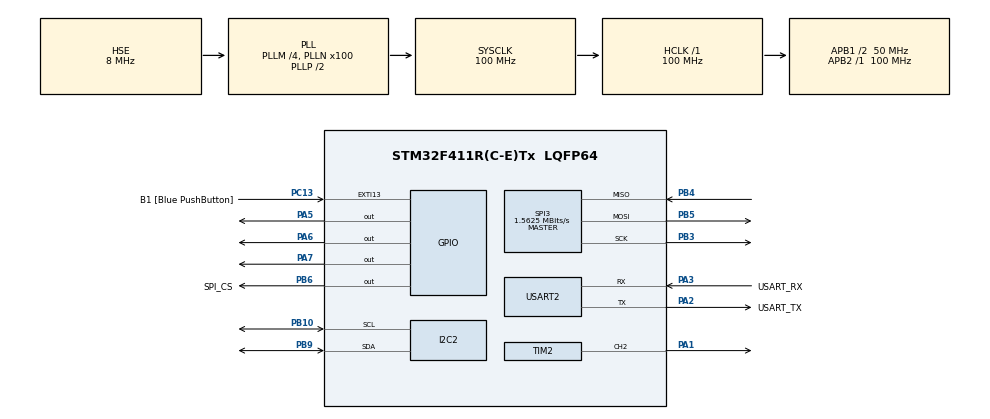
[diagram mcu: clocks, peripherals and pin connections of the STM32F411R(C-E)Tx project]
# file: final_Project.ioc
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I2C2.I2C_Mode=I2C_Fast
Mcu.Family=STM32F4
Mcu.Name=STM32F411R(C-E)Tx
Mcu.Package=LQFP64
NVIC.PriorityGroup=NVIC_PRIORITYGROUP_0
NVIC.TIM1_UP_TIM10_IRQn=true\:0\:0\:false\:false\:true\:true\:true
PA1.Signal=S_TIM2_CH2
PA13.GPIO_Label=TMS
PA13.Mode=Serial_Wire
PA13.Signal=SYS_JTMS-SWDIO
PA14.GPIO_Label=TCK
PA14.Mode=Serial_Wire
PA14.Signal=SYS_JTCK-SWCLK
PA2.GPIO_Label=USART_TX
PA2.Mode=Asynchronous
PA2.Signal=USART2_TX
PA3.GPIO_Label=USART_RX
PA3.Mode=Asynchronous
PA3.Signal=USART2_RX
PA5.Signal=GPIO_Output
PA6.Signal=GPIO_Output
PA7.Signal=GPIO_Output
PB10.Mode=I2C
PB10.Signal=I2C2_SCL
PB3.Mode=Full_Duplex_Master
PB3.Signal=SPI3_SCK
PB4.Mode=Full_Duplex_Master
PB4.Signal=SPI3_MISO
PB5.Mode=Full_Duplex_Master
PB5.Signal=SPI3_MOSI
PB6.GPIO_Label=SPI_CS
PB6.Signal=GPIO_Output
PB9.Mode=I2C
PB9.Signal=I2C2_SDA
PC13-ANTI_TAMP.GPIO_Label=B1 [Blue PushButton]
PC13-ANTI_TAMP.GPIO_ModeDefaultEXTI=GPIO_MODE_IT_FALLING
PC13-ANTI_TAMP.Signal=GPXTI13
PC14-OSC32_IN.Mode=LSE-External-Oscillator
PC14-OSC32_IN.Signal=RCC_OSC32_IN
PC15-OSC32_OUT.Mode=LSE-External-Oscillator
PC15-OSC32_OUT.Signal=RCC_OSC32_OUT
PH0\ -\ OSC_IN.Mode=HSE-External-Clock-Source
PH0\ -\ OSC_IN.Signal=RCC_OSC_IN
PH1\ -\ OSC_OUT.Mode=HSE-External-Clock-Source
PH1\ -\ OSC_OUT.Signal=RCC_OSC_OUT
ProjectManager.HeapSize=0x200
ProjectManager.StackSize=0x400
ProjectManager.TargetToolchain=SW4STM32
RCC.48MHZClocksFreq_Value=50000000
RCC.AHBFreq_Value=100000000
RCC.APB1CLKDivider=RCC_HCLK_DIV2
RCC.APB1Freq_Value=50000000
RCC.APB1TimFreq_Value=100000000
RCC.APB2Freq_Value=100000000
RCC.APB2TimFreq_Value=100000000
RCC.CortexFreq_Value=100000000
RCC.FLatency-AdvancedSettings=FLASH_LATENCY_3
RCC.HCLKFreq_Value=100000000
RCC.HSE_VALUE=8000000
RCC.HSI_VALUE=16000000
RCC.PLLM=4
RCC.PLLN=100
RCC.PLLSourceVirtual=RCC_PLLSOURCE_HSE
RCC.SYSCLKFreq_VALUE=100000000
RCC.SYSCLKSource=RCC_SYSCLKSOURCE_PLLCLK
RCC.VCOOutputFreq_Value=200000000
SH.S_TIM2_CH2.0=TIM2_CH2,PWM Generation2 CH2
SPI3.BaudRatePrescaler=SPI_BAUDRATEPRESCALER_32
SPI3.CLKPhase=SPI_PHASE_2EDGE
SPI3.CLKPolarity=SPI_POLARITY_HIGH
SPI3.CalculateBaudRate=1.5625 MBits/s
SPI3.Direction=SPI_DIRECTION_2LINES
SPI3.Mode=SPI_MODE_MASTER
SPI3.VirtualType=VM_MASTER
TIM1.Period=49999
TIM1.Prescaler=999
TIM2.Channel-PWM\ Generation2\ CH2=TIM_CHANNEL_2
TIM2.Period=254
TIM2.Prescaler=1496
USART2.VirtualMode=VM_ASYNC
VP_TIM1_VS_ClockSourceINT.Mode=Internal
board=NUCLEO-F411RE

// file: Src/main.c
/* USER CODE BEGIN Header */
/**
  ******************************************************************************
  * @file           : main.c
  * @brief          : Main program body
  ******************************************************************************
  * @attention
  *
  * <h2><center>&copy; Copyright (c) 2019 STMicroelectronics.
  * All rights reserved.</center></h2>
  *
  * This software component is licensed by ST under BSD 3-Clause license,
  * the "License"; You may not use this file except in compliance with the
  * License. You may obtain a copy of the License at:
  *                        opensource.org/licenses/BSD-3-Clause
  *
  ******************************************************************************
  */
/* USER CODE END Header */

#include "main.h"

/* USER CODE BEGIN Includes */
#include "ssd1306.h"
/* USER CODE END Includes */

I2C_HandleTypeDef hi2c2;

SPI_HandleTypeDef hspi3;

TIM_HandleTypeDef htim1;
TIM_HandleTypeDef htim2;

UART_HandleTypeDef huart2;

/* USER CODE BEGIN PV */
uint8_t data_rec[6];
int16_t x,y,z;
float xg,yg,zg;
uint8_t printX = 5;
uint8_t printY = 27;
/* USER CODE END PV */

void SystemClock_Config(void);
static void MX_GPIO_Init(void);
static void MX_USART2_UART_Init(void);
static void MX_I2C2_Init(void);
static void MX_SPI3_Init(void);
static void MX_TIM2_Init(void);
static void MX_TIM1_Init(void);

/* USER CODE BEGIN 0 */
static uint32_t score = 0;
static uint32_t Hscore = 0;
static uint8_t time = 0;
static uint8_t hp = 3;
static uint8_t game = 1;
static uint8_t cubeX[4] = {40,80,120,160};
static uint8_t cubeY[4] = {2,0,2,1};
uint16_t car[8][8] = {
		{1,1,0,0,0,0,1,1},
		{1,1,0,0,0,0,1,1},
		{0,1,1,1,1,1,1,0},
		{0,1,1,1,1,1,1,0},
		{0,1,1,1,1,1,1,0},
		{0,1,1,1,1,1,1,0},
		{1,1,0,0,0,0,1,1},
		{1,1,0,0,0,0,1,1}
};
void adxl_write(uint8_t address, uint8_t value)
{
	uint8_t data[2];
	data[0] = address|0x40; // multibyte write
	data[1] = value;
	HAL_GPIO_WritePin(GPIOB, GPIO_PIN_6, GPIO_PIN_RESET);
	HAL_SPI_Transmit(&hspi3, data, 2, 100);
	HAL_GPIO_WritePin(GPIOB, GPIO_PIN_6, GPIO_PIN_SET);
}
void adxl_read(uint8_t address)
{
	address |= 0x80; // read operation
	address |= 0x40; // multibyte read
	uint8_t rec = 0;
	HAL_GPIO_WritePin(GPIOB, GPIO_PIN_6, GPIO_PIN_RESET);
	HAL_SPI_Transmit(&hspi3, &address, 1, 100);
	HAL_SPI_Receive(&hspi3, data_rec, 6, 100);
	HAL_GPIO_WritePin(GPIOB, GPIO_PIN_6, GPIO_PIN_SET);
}
uint8_t adxl_read_devid(void)
{
	uint8_t address = 0x00 | 0x80; // read operation
	uint8_t value = 0;
	HAL_GPIO_WritePin(GPIOB, GPIO_PIN_6, GPIO_PIN_RESET);
	HAL_SPI_Transmit(&hspi3, &address, 1, 100);
	HAL_SPI_Receive(&hspi3, &value, 1, 100);
	HAL_GPIO_WritePin(GPIOB, GPIO_PIN_6, GPIO_PIN_SET);
	return value;
}
void adxl_init(void)
{
	adxl_write(0x31, 0x01); // data_format range= +- 4g
	adxl_write(0x2d, 0x00); // reset all bits
	adxl_write(0x2d, 0x08); // power_cntl measure and wake up 8hz
}
// Hscore
uint32_t getHScore(){
	static uint32_t flashAddr = 0x08060000;
	uint32_t ss = *(__IO uint32_t*) flashAddr;
	return ss;
}
void updateHScore(){
	Hscore = score;
	static uint32_t flashAddr = 0x08060000;
	HAL_FLASH_Unlock();
	FLASH_EraseInitTypeDef f;
	uint32_t error = 0;
	f.TypeErase = FLASH_TYPEERASE_SECTORS;
	f.Sector = FLASH_SECTOR_7;
	f.VoltageRange = FLASH_VOLTAGE_RANGE_3;
	f.NbSectors = 1;
	if(HAL_FLASHEx_Erase(&f, &error) == HAL_OK){
		HAL_FLASH_Program(TYPEPROGRAM_WORD, flashAddr, Hscore);
	}
	HAL_FLASH_Lock();
}
void drawScore(){
	char s[4] = {'s','c','r',':'};
	SSD1306_GotoXY(5, 5);
	SSD1306_Puts(s, &Font_7x10, SSD1306_COLOR_WHITE);
	int temp = score;
	s[0]=(0x30 + temp/100);
	temp=temp%100;
	s[1]=(0x30 + temp/10);
	temp=temp%10;
	s[2]=(0x30 + temp);
	s[3]=' ';
	SSD1306_GotoXY(33, 5);
	SSD1306_Puts(s, &Font_7x10, SSD1306_COLOR_WHITE);

	SSD1306_GotoXY(62, 5);
	SSD1306_Putc(' ', &Font_7x10, SSD1306_COLOR_WHITE);

	char s2[4] = {'1','s','t',':'};
	SSD1306_GotoXY(69, 5);
	SSD1306_Puts(s2, &Font_7x10, SSD1306_COLOR_WHITE);
	int temp2 = Hscore;
	s2[0]=(0x30 + temp2/100);
	temp2=temp2%100;
	s2[1]=(0x30 + temp2/10);
	temp2=temp2%10;
	s2[2]=(0x30 + temp2);
	s2[3]=' ';
	SSD1306_GotoXY(97, 5);
	SSD1306_Puts(s2, &Font_7x10, SSD1306_COLOR_WHITE);
	for(int i=0;i<128;i++){
		SSD1306_DrawPixel((uint16_t) i,(uint16_t) 16, SSD1306_COLOR_WHITE);
	}
}
/* USER CODE END 0 */

int main(void)
{

  /* MCU Configuration--------------------------------------------------------*/

  /* Reset of all peripherals, Initializes the Flash interface and the Systick. */
  HAL_Init();

  /* Configure the system clock */
  SystemClock_Config();

  /* Initialize all configured peripherals */
  MX_GPIO_Init();
  MX_USART2_UART_Init();
  MX_I2C2_Init();
  MX_SPI3_Init();
  MX_TIM2_Init();
  MX_TIM1_Init();
  /* USER CODE BEGIN 2 */
  HAL_TIM_Base_Start_IT(&htim1);
  HAL_TIM_PWM_Start(&htim2, TIM_CHANNEL_2);

  HAL_Delay(1000);
  HAL_GPIO_WritePin(GPIOB, GPIO_PIN_6, GPIO_PIN_SET);
  uint8_t devid = adxl_read_devid();
  if(devid != 0xE5){
  	HAL_GPIO_WritePin(GPIOA, GPIO_PIN_5, GPIO_PIN_SET);
   return 1;
  }
  adxl_init();

  GPIOA->ODR = 0xE0;

  SSD1306_Init();
  SSD1306_Fill(SSD1306_COLOR_WHITE);
  SSD1306_UpdateScreen();
  /* USER CODE END 2 */

  /* Infinite loop */
  /* USER CODE BEGIN WHILE */
  Hscore = getHScore();
  while (game == 1)
  {
    /* USER CODE END WHILE */

    /* USER CODE BEGIN 3 */
	adxl_read(0x32);
	x = ((data_rec[1] << 8) | data_rec[0]);
	y = ((data_rec[3] << 8) | data_rec[2]);
	z = ((data_rec[5] << 8) | data_rec[4]);
	xg = x * 0.0078;
	yg = y * 0.0078;
	zg = z * 0.0078;
	if(yg>0 && printY<53)
		printY+=2;
	else if(yg<0 && printY>20)
		printY-=2;
	SSD1306_Fill(SSD1306_COLOR_BLACK);
	time++;
	if(time%20==0)
		score++;

	drawScore();

	// draw car
	SSD1306_GotoXY(printX, printY);
	for(int i=0;i<8;i++){
		for(int j=0;j<8;j++){
			if(car[i][j] == 1)
				SSD1306_DrawPixel((uint16_t) printX+j,(uint16_t) printY+i, SSD1306_COLOR_WHITE);
		}
	}

	// draw cube
	for(int i=0;i<4;i++){
		if(cubeX[i]>1)
			cubeX[i]-=2;
		else
		{
			cubeX[i]=158;
			cubeY[i]=(time+score+cubeY[i+1])%3;
		}
		if(cubeX[i]<148 && cubeY[i]<3)
		{
			for(int m=2;m<12;m++){
				for(int n=0;n<10;n++){
					int tempX=cubeX[i]+n-20;
					int tempY=(cubeY[i]+1)*16+m;
					if(tempX > 0)
					{
						SSD1306_DrawPixel((uint16_t) tempX,(uint16_t) tempY, SSD1306_COLOR_WHITE);
						if(tempX >= printX && tempX < printX+8)
						{
							if(tempY >= printY && tempY < printY+8)
							{
							    TIM2->PSC = 1496;
							    TIM2->CCR2 = 127;

							    HAL_Delay(1000);

								hp--;

								if(hp==2)
									GPIOA->ODR = 0xC0;
								else if(hp==1)
									GPIOA->ODR = 0x80;
								else
								{
									GPIOA->ODR = 0x00;
									game=0;
									if(score > Hscore)
										updateHScore();
									drawScore();
								}

							    TIM2->CCR2 = 0;

								cubeY[i]=10;
							}
						}
					}
				}
			}
		}
	}

	SSD1306_UpdateScreen();
	HAL_Delay(50);
  }
  /* USER CODE END 3 */
}

void SystemClock_Config(void)
{
  RCC_OscInitTypeDef RCC_OscInitStruct = {0};
  RCC_ClkInitTypeDef RCC_ClkInitStruct = {0};

  /** Configure the main internal regulator output voltage
  */
  __HAL_RCC_PWR_CLK_ENABLE();
  __HAL_PWR_VOLTAGESCALING_CONFIG(PWR_REGULATOR_VOLTAGE_SCALE1);
  /** Initializes the CPU, AHB and APB busses clocks
  */
  RCC_OscInitStruct.OscillatorType = RCC_OSCILLATORTYPE_HSE;
  RCC_OscInitStruct.HSEState = RCC_HSE_BYPASS;
  RCC_OscInitStruct.PLL.PLLState = RCC_PLL_ON;
  RCC_OscInitStruct.PLL.PLLSource = RCC_PLLSOURCE_HSE;
  RCC_OscInitStruct.PLL.PLLM = 4;
  RCC_OscInitStruct.PLL.PLLN = 100;
  RCC_OscInitStruct.PLL.PLLP = RCC_PLLP_DIV2;
  RCC_OscInitStruct.PLL.PLLQ = 4;
  if (HAL_RCC_OscConfig(&RCC_OscInitStruct) != HAL_OK)
  {
    Error_Handler();
  }
  /** Initializes the CPU, AHB and APB busses clocks
  */
  RCC_ClkInitStruct.ClockType = RCC_CLOCKTYPE_HCLK|RCC_CLOCKTYPE_SYSCLK
                              |RCC_CLOCKTYPE_PCLK1|RCC_CLOCKTYPE_PCLK2;
  RCC_ClkInitStruct.SYSCLKSource = RCC_SYSCLKSOURCE_PLLCLK;
  RCC_ClkInitStruct.AHBCLKDivider = RCC_SYSCLK_DIV1;
  RCC_ClkInitStruct.APB1CLKDivider = RCC_HCLK_DIV2;
  RCC_ClkInitStruct.APB2CLKDivider = RCC_HCLK_DIV1;

  if (HAL_RCC_ClockConfig(&RCC_ClkInitStruct, FLASH_LATENCY_3) != HAL_OK)
  {
    Error_Handler();
  }
}

static void MX_I2C2_Init(void)
{

  hi2c2.Instance = I2C2;
  hi2c2.Init.ClockSpeed = 400000;
  hi2c2.Init.DutyCycle = I2C_DUTYCYCLE_2;
  hi2c2.Init.OwnAddress1 = 0;
  hi2c2.Init.AddressingMode = I2C_ADDRESSINGMODE_7BIT;
  hi2c2.Init.DualAddressMode = I2C_DUALADDRESS_DISABLE;
  hi2c2.Init.OwnAddress2 = 0;
  hi2c2.Init.GeneralCallMode = I2C_GENERALCALL_DISABLE;
  hi2c2.Init.NoStretchMode = I2C_NOSTRETCH_DISABLE;
  if (HAL_I2C_Init(&hi2c2) != HAL_OK)
  {
    Error_Handler();
  }

}

static void MX_SPI3_Init(void)
{

  /* SPI3 parameter configuration*/
  hspi3.Instance = SPI3;
  hspi3.Init.Mode = SPI_MODE_MASTER;
  hspi3.Init.Direction = SPI_DIRECTION_2LINES;
  hspi3.Init.DataSize = SPI_DATASIZE_8BIT;
  hspi3.Init.CLKPolarity = SPI_POLARITY_HIGH;
  hspi3.Init.CLKPhase = SPI_PHASE_2EDGE;
  hspi3.Init.NSS = SPI_NSS_SOFT;
  hspi3.Init.BaudRatePrescaler = SPI_BAUDRATEPRESCALER_32;
  hspi3.Init.FirstBit = SPI_FIRSTBIT_MSB;
  hspi3.Init.TIMode = SPI_TIMODE_DISABLE;
  hspi3.Init.CRCCalculation = SPI_CRCCALCULATION_DISABLE;
  hspi3.Init.CRCPolynomial = 10;
  if (HAL_SPI_Init(&hspi3) != HAL_OK)
  {
    Error_Handler();
  }

}

static void MX_TIM1_Init(void)
{

  TIM_ClockConfigTypeDef sClockSourceConfig = {0};
  TIM_MasterConfigTypeDef sMasterConfig = {0};

  htim1.Instance = TIM1;
  htim1.Init.Prescaler = 999;
  htim1.Init.CounterMode = TIM_COUNTERMODE_UP;
  htim1.Init.Period = 49999;
  htim1.Init.ClockDivision = TIM_CLOCKDIVISION_DIV1;
  htim1.Init.RepetitionCounter = 0;
  htim1.Init.AutoReloadPreload = TIM_AUTORELOAD_PRELOAD_DISABLE;
  if (HAL_TIM_Base_Init(&htim1) != HAL_OK)
  {
    Error_Handler();
  }
  sClockSourceConfig.ClockSource = TIM_CLOCKSOURCE_INTERNAL;
  if (HAL_TIM_ConfigClockSource(&htim1, &sClockSourceConfig) != HAL_OK)
  {
    Error_Handler();
  }
  sMasterConfig.MasterOutputTrigger = TIM_TRGO_RESET;
  sMasterConfig.MasterSlaveMode = TIM_MASTERSLAVEMODE_DISABLE;
  if (HAL_TIMEx_MasterConfigSynchronization(&htim1, &sMasterConfig) != HAL_OK)
  {
    Error_Handler();
  }

}

static void MX_TIM2_Init(void)
{

  TIM_MasterConfigTypeDef sMasterConfig = {0};
  TIM_OC_InitTypeDef sConfigOC = {0};

  htim2.Instance = TIM2;
  htim2.Init.Prescaler = 1496;
  htim2.Init.CounterMode = TIM_COUNTERMODE_UP;
  htim2.Init.Period = 254;
  htim2.Init.ClockDivision = TIM_CLOCKDIVISION_DIV1;
  htim2.Init.AutoReloadPreload = TIM_AUTORELOAD_PRELOAD_DISABLE;
  if (HAL_TIM_PWM_Init(&htim2) != HAL_OK)
  {
    Error_Handler();
  }
  sMasterConfig.MasterOutputTrigger = TIM_TRGO_RESET;
  sMasterConfig.MasterSlaveMode = TIM_MASTERSLAVEMODE_DISABLE;
  if (HAL_TIMEx_MasterConfigSynchronization(&htim2, &sMasterConfig) != HAL_OK)
  {
    Error_Handler();
  }
  sConfigOC.OCMode = TIM_OCMODE_PWM1;
  sConfigOC.Pulse = 0;
  sConfigOC.OCPolarity = TIM_OCPOLARITY_HIGH;
  sConfigOC.OCFastMode = TIM_OCFAST_DISABLE;
  if (HAL_TIM_PWM_ConfigChannel(&htim2, &sConfigOC, TIM_CHANNEL_2) != HAL_OK)
  {
    Error_Handler();
  }
  HAL_TIM_MspPostInit(&htim2);

}

static void MX_USART2_UART_Init(void)
{

  huart2.Instance = USART2;
  huart2.Init.BaudRate = 115200;
  huart2.Init.WordLength = UART_WORDLENGTH_8B;
  huart2.Init.StopBits = UART_STOPBITS_1;
  huart2.Init.Parity = UART_PARITY_NONE;
  huart2.Init.Mode = UART_MODE_TX_RX;
  huart2.Init.HwFlowCtl = UART_HWCONTROL_NONE;
  huart2.Init.OverSampling = UART_OVERSAMPLING_16;
  if (HAL_UART_Init(&huart2) != HAL_OK)
  {
    Error_Handler();
  }

}

static void MX_GPIO_Init(void)
{
  GPIO_InitTypeDef GPIO_InitStruct = {0};

  /* GPIO Ports Clock Enable */
  __HAL_RCC_GPIOC_CLK_ENABLE();
  __HAL_RCC_GPIOH_CLK_ENABLE();
  __HAL_RCC_GPIOA_CLK_ENABLE();
  __HAL_RCC_GPIOB_CLK_ENABLE();

  /*Configure GPIO pin Output Level */
  HAL_GPIO_WritePin(GPIOA, GPIO_PIN_5|GPIO_PIN_6|GPIO_PIN_7, GPIO_PIN_RESET);

  /*Configure GPIO pin Output Level */
  HAL_GPIO_WritePin(SPI_CS_GPIO_Port, SPI_CS_Pin, GPIO_PIN_RESET);

  /*Configure GPIO pin : B1_Pin */
  GPIO_InitStruct.Pin = B1_Pin;
  GPIO_InitStruct.Mode = GPIO_MODE_IT_FALLING;
  GPIO_InitStruct.Pull = GPIO_NOPULL;
  HAL_GPIO_Init(B1_GPIO_Port, &GPIO_InitStruct);

  /*Configure GPIO pins : PA5 PA6 PA7 */
  GPIO_InitStruct.Pin = GPIO_PIN_5|GPIO_PIN_6|GPIO_PIN_7;
  GPIO_InitStruct.Mode = GPIO_MODE_OUTPUT_PP;
  GPIO_InitStruct.Pull = GPIO_NOPULL;
  GPIO_InitStruct.Speed = GPIO_SPEED_FREQ_LOW;
  HAL_GPIO_Init(GPIOA, &GPIO_InitStruct);

  /*Configure GPIO pin : SPI_CS_Pin */
  GPIO_InitStruct.Pin = SPI_CS_Pin;
  GPIO_InitStruct.Mode = GPIO_MODE_OUTPUT_PP;
  GPIO_InitStruct.Pull = GPIO_NOPULL;
  GPIO_InitStruct.Speed = GPIO_SPEED_FREQ_LOW;
  HAL_GPIO_Init(SPI_CS_GPIO_Port, &GPIO_InitStruct);

}

void Error_Handler(void)
{
}

/************************ (C) COPYRIGHT STMicroelectronics *****END OF FILE****/
